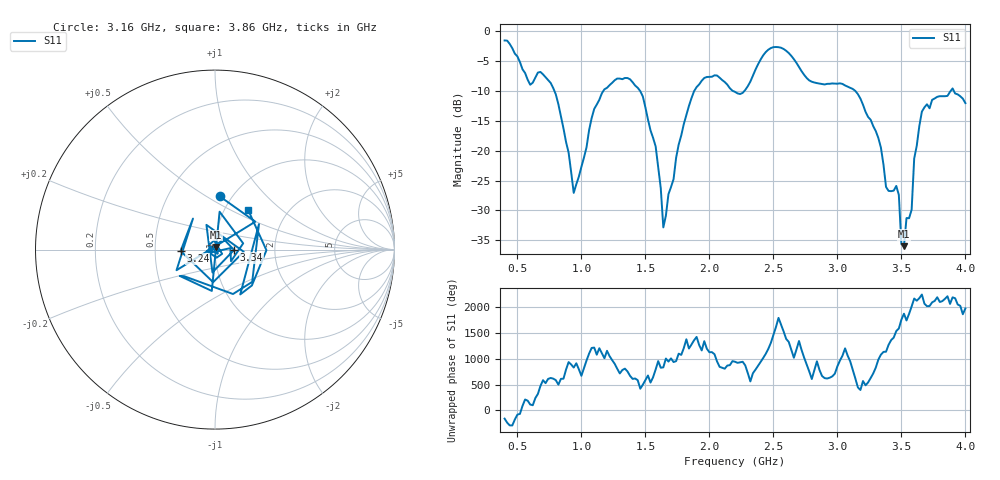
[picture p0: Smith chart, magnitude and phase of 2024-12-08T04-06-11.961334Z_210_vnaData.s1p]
!Created with skrf (http://scikit-rf.org).
# Hz S RI R 50.0
!freq ReS11 ImS11
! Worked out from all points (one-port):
!   181 points, 400 MHz to 4 GHz, reference 50 ohm
!   lowest |S11| = -36.0 dB at 3.52 GHz (marker M1), VSWR 1.03, Z = 50.5 + j1.52 ohm
!   |S11| at or under -10 dB: 789.6 MHz to 1.171 GHz (381.2 MHz wide, 38.9 % of centre); 1.46 GHz to 1.881 GHz (420.8 MHz wide, 25.2 % of centre); 3.141 GHz to 3.884 GHz (742.8 MHz wide, 21.1 % of centre) (the widest 3 of 5)
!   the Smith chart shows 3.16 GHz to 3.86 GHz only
!   S11 on the Smith chart (normalised r, x): 3.16 GHz: 0.88, +0.57; 3.24 GHz: 0.68, -0.01; 3.34 GHz: 1.24, -0.01; 3.86 GHz: 1.28, +0.62
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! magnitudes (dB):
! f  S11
! 400 MHz  -1.5
! 600 MHz  -8.9
! 760 MHz  -8.6
! 860 MHz  -16.3
! 940 MHz  -27.1
! 1.1 GHz  -13.0
! 1.3 GHz  -7.9
! 1.48 GHz  -10.9
! 1.58 GHz  -19.3
! 1.64 GHz  -32.9
! 1.76 GHz  -19.0
! 1.96 GHz  -7.8
! 2.2 GHz  -10.1
! 2.48 GHz  -2.8
! 2.66 GHz  -4.6
! 3.1 GHz  -9.4
! 3.16 GHz  -10.5
! 3.24 GHz  -14.3
! 3.34 GHz  -19.5
! 3.38 GHz  -26.1
! 3.48 GHz  -27.4
! 3.5 GHz  -35.7
! 3.52 GHz  -36.0
! 3.56 GHz  -31.3
! 3.6 GHz  -21.3
! 3.66 GHz  -13.4
! 3.86 GHz  -10.8
! 4 GHz  -12.0
